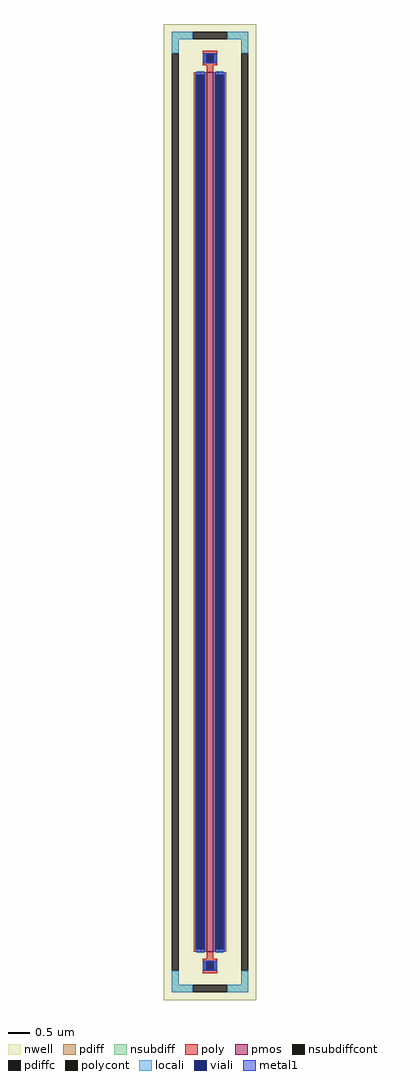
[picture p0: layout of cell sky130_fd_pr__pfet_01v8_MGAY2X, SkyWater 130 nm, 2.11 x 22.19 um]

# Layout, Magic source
magic
tech sky130A
magscale 1 2
<< nwell >>
rect -211 -2219 211 2219
<< pmos >>
rect -15 -2000 15 2000
<< pdiff >>
rect -73 1988 -15 2000
rect -73 -1988 -61 1988
rect -27 -1988 -15 1988
rect -73 -2000 -15 -1988
rect 15 1988 73 2000
rect 15 -1988 27 1988
rect 61 -1988 73 1988
rect 15 -2000 73 -1988
<< pdiffc >>
rect -61 -1988 -27 1988
rect 27 -1988 61 1988
<< nsubdiff >>
rect -175 2149 -79 2183
rect 79 2149 175 2183
rect -175 2087 -141 2149
rect 141 2087 175 2149
rect -175 -2149 -141 -2087
rect 141 -2149 175 -2087
rect -175 -2183 -79 -2149
rect 79 -2183 175 -2149
<< nsubdiffcont >>
rect -79 2149 79 2183
rect -175 -2087 -141 2087
rect 141 -2087 175 2087
rect -79 -2183 79 -2149
<< poly >>
rect -33 2081 33 2097
rect -33 2047 -17 2081
rect 17 2047 33 2081
rect -33 2031 33 2047
rect -15 2000 15 2031
rect -15 -2031 15 -2000
rect -33 -2047 33 -2031
rect -33 -2081 -17 -2047
rect 17 -2081 33 -2047
rect -33 -2097 33 -2081
<< polycont >>
rect -17 2047 17 2081
rect -17 -2081 17 -2047
<< locali >>
rect -175 2149 -79 2183
rect 79 2149 175 2183
rect -175 2087 -141 2149
rect 141 2087 175 2149
rect -33 2047 -17 2081
rect 17 2047 33 2081
rect -61 1988 -27 2004
rect -61 -2004 -27 -1988
rect 27 1988 61 2004
rect 27 -2004 61 -1988
rect -33 -2081 -17 -2047
rect 17 -2081 33 -2047
rect -175 -2149 -141 -2087
rect 141 -2149 175 -2087
rect -175 -2183 -79 -2149
rect 79 -2183 175 -2149
<< viali >>
rect -17 2047 17 2081
rect -61 -1988 -27 1988
rect 27 -1988 61 1988
rect -17 -2081 17 -2047
<< metal1 >>
rect -29 2081 29 2087
rect -29 2047 -17 2081
rect 17 2047 29 2081
rect -29 2041 29 2047
rect -67 1988 -21 2000
rect -67 -1988 -61 1988
rect -27 -1988 -21 1988
rect -67 -2000 -21 -1988
rect 21 1988 67 2000
rect 21 -1988 27 1988
rect 61 -1988 67 1988
rect 21 -2000 67 -1988
rect -29 -2047 29 -2041
rect -29 -2081 -17 -2047
rect 17 -2081 29 -2047
rect -29 -2087 29 -2081
<< properties >>
string FIXED_BBOX -158 -2166 158 2166
string gencell sky130_fd_pr__pfet_01v8
string library sky130
string parameters w 20.0 l 0.15 m 1 nf 1 diffcov 100 polycov 100 guard 1 glc 1 grc 1 gtc 1 gbc 1 tbcov 100 rlcov 100 topc 1 botc 1 poverlap 0 doverlap 1 lmin 0.15 wmin 0.42 compatible {sky130_fd_pr__pfet_01v8  sky130_fd_pr__pfet_01v8_lvt sky130_fd_pr__pfet_01v8_hvt  sky130_fd_pr__pfet_g5v0d10v5} full_metal 1 viasrc 100 viadrn 100 viagate 100 viagb 0 viagr 0 viagl 0 viagt 0
<< end >>
